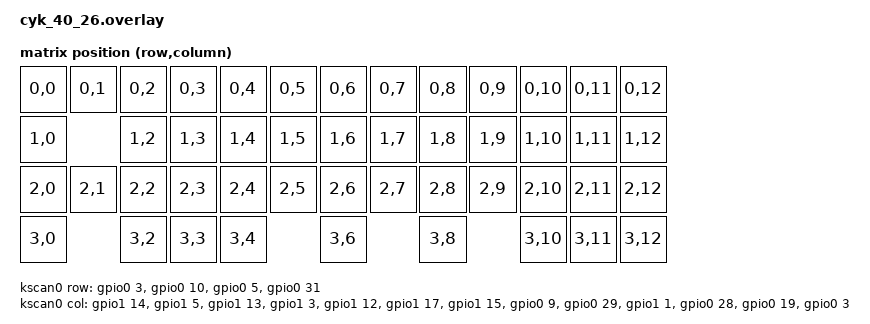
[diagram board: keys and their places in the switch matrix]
#include <dt-bindings/zmk/matrix_transform.h>
#include "cyk_40_26-layouts.dtsi"

/ {
    chosen {
        zmk,kscan = &kscan0;
        zmk,physical-layout = &physical_layout0;
    };

    kscan0: kscan_0 {
        compatible = "zmk,kscan-gpio-matrix";
        diode-direction = "col2row";
        wakeup-source;

        col-gpios
            = <&gpio1 14 GPIO_ACTIVE_HIGH> /* Col01: pin10 */
            , <&gpio1 5  GPIO_ACTIVE_HIGH> /* Col02: pin22 */
            , <&gpio1 13 GPIO_ACTIVE_HIGH> /* Col03: pin09 */
            , <&gpio1 3  GPIO_ACTIVE_HIGH> /* Col04: pin21 */
            , <&gpio1 12 GPIO_ACTIVE_HIGH> /* Col05: pin08 */
            , <&gpio1 17 GPIO_ACTIVE_HIGH> /* Col06: pin23 */
            , <&gpio1 15 GPIO_ACTIVE_HIGH> /* Col07: pin11 */
            , <&gpio0 9  GPIO_ACTIVE_HIGH> /* Col08: pin18 */
            , <&gpio0 29 GPIO_ACTIVE_HIGH> /* Col09: pin04 */
            , <&gpio1 1  GPIO_ACTIVE_HIGH> /* Col10: pin17 */
            , <&gpio0 28 GPIO_ACTIVE_HIGH> /* Col11: pin03 */
            , <&gpio0 19 GPIO_ACTIVE_HIGH> /* Col12: pin16 */
            , <&gpio0 3  GPIO_ACTIVE_HIGH> /* Col13: pin02 */
            ;

        row-gpios
            = <&gpio0 3  (GPIO_ACTIVE_HIGH | GPIO_PULL_DOWN)> /* Row01: pin05 */
            , <&gpio0 10 (GPIO_ACTIVE_HIGH | GPIO_PULL_DOWN)> /* Row02: pin19 */
            , <&gpio0 5  (GPIO_ACTIVE_HIGH | GPIO_PULL_DOWN)> /* Row03: pin06 */
            , <&gpio0 31 (GPIO_ACTIVE_HIGH | GPIO_PULL_DOWN)> /* Row04: pin20 */
            ;
    };

    default_transform: keymap_transform_0 {
        compatible = "zmk,matrix-transform";
        columns = <13>;
        rows = <4>;
        map = <
            RC(0,0) RC(0,1) RC(0,2) RC(0,3) RC(0,4) RC(0,5) RC(0,6) RC(0,7) RC(0,8) RC(0,9) RC(0,10) RC(0,11) RC(0,12)
            RC(1,0)         RC(1,2) RC(1,3) RC(1,4) RC(1,5) RC(1,6) RC(1,7) RC(1,8) RC(1,9) RC(1,10) RC(1,11) RC(1,12)
            RC(2,0) RC(2,1) RC(2,2) RC(2,3) RC(2,4) RC(2,5) RC(2,6) RC(2,7) RC(2,8) RC(2,9) RC(2,10) RC(2,11) RC(2,12)
            RC(3,0)         RC(3,2) RC(3,3) RC(3,4)         RC(3,6)         RC(3,8)         RC(3,10) RC(3,11) RC(3,12)
        >;
    };

    physical_layout0: physical_layout_0 {
        compatible = "zmk,physical-layout";
        display-name = "Default Layout";
        transform = <&default_transform>;
        kscan = <&kscan0>;
    };
};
